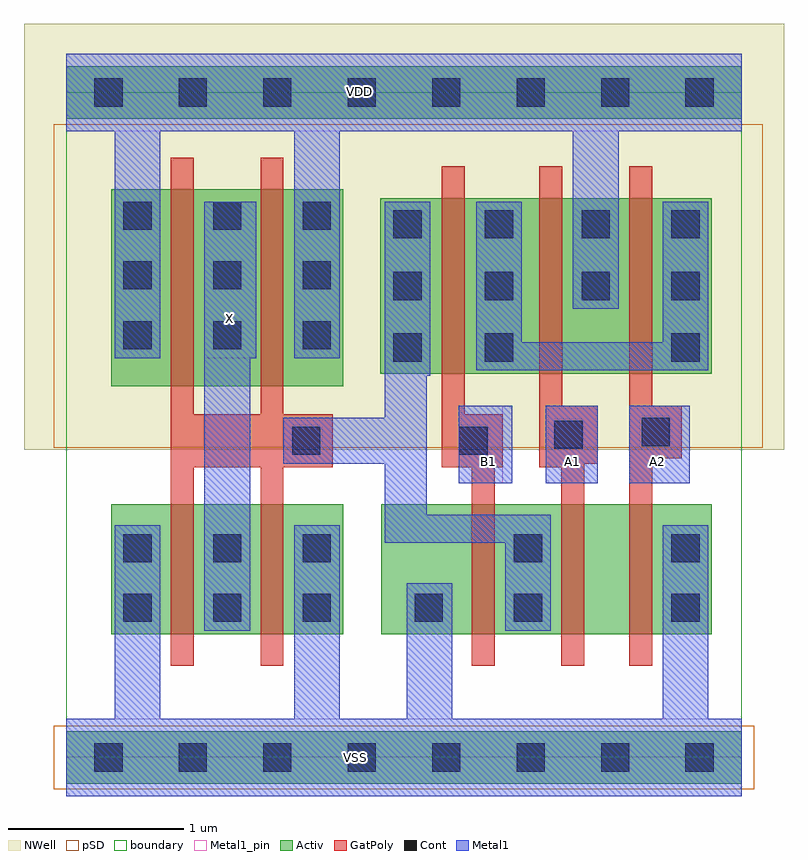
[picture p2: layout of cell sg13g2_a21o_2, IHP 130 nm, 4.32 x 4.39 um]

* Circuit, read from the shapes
.subckt sg13g2_a21o_2 A1 A2 B1 VDD VSS X
XM1 X n1 VSS VSS sg13_lv_nmos w=0.74u l=0.13u m=2
XM2 n1 B1 VSS VSS sg13_lv_nmos w=0.74u l=0.13u
XM3 n2 A1 n1 VSS sg13_lv_nmos w=0.74u l=0.13u
XM4 VSS A2 n2 VSS sg13_lv_nmos w=0.74u l=0.13u
XM5 X n1 VDD VDD sg13_lv_pmos w=1.12u l=0.13u m=2
XM6 n3 B1 n1 VDD sg13_lv_pmos w=1u l=0.13u
XM7 VDD A1 n3 VDD sg13_lv_pmos w=1u l=0.13u
XM8 n3 A2 VDD VDD sg13_lv_pmos w=1u l=0.13u
.ends

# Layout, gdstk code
import gdstk
lib = gdstk.Library(unit=1e-6, precision=1e-09)
def R(c, l, rs):  # rectangles x0, y0, x1, y1
    for r in rs: c.add(gdstk.rectangle(r[:2], r[2:], *l))
def P(c, l, *ps):  # polygons
    for p in ps: c.add(gdstk.Polygon(p, *l))
Activ = (1, 0)
GatPoly = (5, 0)
Cont = (6, 0)
Metal1 = (8, 0)
Metal1_pin = (8, 2)
pSD = (14, 0)
NWell = (31, 0)
boundary = (189, 4)

sg13g2_a21o_2 = lib.new_cell('sg13g2_a21o_2')
R(sg13g2_a21o_2, Activ, [(0,-0.15,3.84,0.15), (0,-0.15,3.84,0.15), (0.255,0.7,1.575,1.44), (0.255,0.7,1.575,1.44), (1.79,0.7,3.67,1.44), (1.79,0.7,3.67,1.44), (0.255,2.11,1.575,3.23), (0.255,2.11,1.575,3.23), (1.785,2.18,3.67,3.18), (1.785,2.18,3.67,3.18), (0,3.63,3.84,3.93), (0,3.63,3.84,3.93)])
P(sg13g2_a21o_2, GatPoly, [(3.2,0.52),(3.2,3.36),(3.33,3.36),(3.33,2),(3.5,2),(3.5,1.7),(3.33,1.7),(3.33,0.52)],
  [(2.815,0.52),(2.815,1.65),(2.69,1.65),(2.69,3.36),(2.82,3.36),(2.82,2),(3.02,2),(3.02,1.67),(2.945,1.67),(2.945,0.52)],
  [(2.305,0.52),(2.305,1.65),(2.135,1.65),(2.135,3.36),(2.265,3.36),(2.265,1.95),(2.48,1.95),(2.48,1.65),(2.435,1.65),(2.435,0.52)],
  [(0.595,0.52),(0.595,3.41),(0.725,3.41),(0.725,1.95),(1.105,1.95),(1.105,3.41),(1.235,3.41),(1.235,1.95),(1.515,1.95),(1.515,1.65),(1.235,1.65),(1.235,0.52),(1.105,0.52),(1.105,1.65),(0.725,1.65),(0.725,0.52)],
  [(3.2,0.52),(3.2,3.36),(3.33,3.36),(3.33,2),(3.5,2),(3.5,1.7),(3.33,1.7),(3.33,0.52)],
  [(2.815,0.52),(2.815,1.65),(2.69,1.65),(2.69,3.36),(2.82,3.36),(2.82,2),(3.02,2),(3.02,1.67),(2.945,1.67),(2.945,0.52)],
  [(2.305,0.52),(2.305,1.65),(2.135,1.65),(2.135,3.36),(2.265,3.36),(2.265,1.95),(2.48,1.95),(2.48,1.65),(2.435,1.65),(2.435,0.52)],
  [(0.595,0.52),(0.595,3.41),(0.725,3.41),(0.725,1.95),(1.105,1.95),(1.105,3.41),(1.235,3.41),(1.235,1.95),(1.515,1.95),(1.515,1.65),(1.235,1.65),(1.235,0.52),(1.105,0.52),(1.105,1.65),(0.725,1.65),(0.725,0.52)])
R(sg13g2_a21o_2, Cont, [(0.16,-0.08,0.32,0.08), (0.16,-0.08,0.32,0.08), (0.64,-0.08,0.8,0.08), (0.64,-0.08,0.8,0.08), (1.12,-0.08,1.28,0.08), (1.12,-0.08,1.28,0.08), (1.6,-0.08,1.76,0.08), (1.6,-0.08,1.76,0.08), (2.08,-0.08,2.24,0.08), (2.08,-0.08,2.24,0.08), (2.56,-0.08,2.72,0.08), (2.56,-0.08,2.72,0.08), (3.04,-0.08,3.2,0.08), (3.04,-0.08,3.2,0.08), (3.52,-0.08,3.68,0.08), (3.52,-0.08,3.68,0.08), (0.325,0.77,0.485,0.93), (0.325,0.77,0.485,0.93), (0.835,0.77,0.995,0.93), (0.835,0.77,0.995,0.93), (1.345,0.77,1.505,0.93), (1.345,0.77,1.505,0.93), (1.98,0.77,2.14,0.93), (1.98,0.77,2.14,0.93), (2.545,0.77,2.705,0.93), (2.545,0.77,2.705,0.93), (3.44,0.77,3.6,0.93), (3.44,0.77,3.6,0.93), (0.325,1.11,0.485,1.27), (0.325,1.11,0.485,1.27), (0.835,1.11,0.995,1.27), (0.835,1.11,0.995,1.27), (1.345,1.11,1.505,1.27), (1.345,1.11,1.505,1.27), (2.545,1.11,2.705,1.27), (2.545,1.11,2.705,1.27), (3.44,1.11,3.6,1.27), (3.44,1.11,3.6,1.27), (1.285,1.72,1.445,1.88), (1.285,1.72,1.445,1.88), (2.235,1.72,2.395,1.88), (2.235,1.72,2.395,1.88), (2.775,1.755,2.935,1.915), (2.775,1.755,2.935,1.915), (3.27,1.77,3.43,1.93), (3.27,1.77,3.43,1.93), (1.86,2.25,2.02,2.41), (1.86,2.25,2.02,2.41), (2.38,2.25,2.54,2.41), (2.38,2.25,2.54,2.41), (3.44,2.25,3.6,2.41), (3.44,2.25,3.6,2.41), (0.325,2.32,0.485,2.48), (0.325,2.32,0.485,2.48), (0.835,2.32,0.995,2.48), (0.835,2.32,0.995,2.48), (1.345,2.32,1.505,2.48), (1.345,2.32,1.505,2.48), (1.86,2.6,2.02,2.76), (1.86,2.6,2.02,2.76), (2.38,2.6,2.54,2.76), (2.38,2.6,2.54,2.76), (2.93,2.6,3.09,2.76), (2.93,2.6,3.09,2.76), (3.44,2.6,3.6,2.76), (3.44,2.6,3.6,2.76), (0.325,2.66,0.485,2.82), (0.325,2.66,0.485,2.82), (0.835,2.66,0.995,2.82), (0.835,2.66,0.995,2.82), (1.345,2.66,1.505,2.82), (1.345,2.66,1.505,2.82), (1.86,2.95,2.02,3.11), (1.86,2.95,2.02,3.11), (2.38,2.95,2.54,3.11), (2.38,2.95,2.54,3.11), (2.93,2.95,3.09,3.11), (2.93,2.95,3.09,3.11), (3.44,2.95,3.6,3.11), (3.44,2.95,3.6,3.11), (0.325,3,0.485,3.16), (0.325,3,0.485,3.16), (0.835,3,0.995,3.16), (0.835,3,0.995,3.16), (1.345,3,1.505,3.16), (1.345,3,1.505,3.16), (0.16,3.7,0.32,3.86), (0.16,3.7,0.32,3.86), (0.64,3.7,0.8,3.86), (0.64,3.7,0.8,3.86), (1.12,3.7,1.28,3.86), (1.12,3.7,1.28,3.86), (1.6,3.7,1.76,3.86), (1.6,3.7,1.76,3.86), (2.08,3.7,2.24,3.86), (2.08,3.7,2.24,3.86), (2.56,3.7,2.72,3.86), (2.56,3.7,2.72,3.86), (3.04,3.7,3.2,3.86), (3.04,3.7,3.2,3.86), (3.52,3.7,3.68,3.86), (3.52,3.7,3.68,3.86)])
R(sg13g2_a21o_2, Metal1, [(2.23,1.56,2.535,2), (2.23,1.56,2.535,2), (2.725,1.56,3.02,2), (2.725,1.56,3.02,2), (3.2,1.56,3.545,2), (3.2,1.56,3.545,2), (2.88,2.55,3.14,3.56), (2.88,2.55,3.14,3.56)])
P(sg13g2_a21o_2, Metal1, [(0,-0.22),(0,0.22),(0.275,0.22),(0.275,1.32),(0.535,1.32),(0.535,0.22),(1.295,0.22),(1.295,1.32),(1.555,1.32),(1.555,0.22),(1.935,0.22),(1.935,0.99),(2.195,0.99),(2.195,0.22),(3.39,0.22),(3.39,1.32),(3.65,1.32),(3.65,0.22),(3.84,0.22),(3.84,-0.22)],
  [(0.275,2.27),(0.275,3.56),(0,3.56),(0,4),(3.84,4),(3.84,3.56),(1.555,3.56),(1.555,2.27),(1.295,2.27),(1.295,3.56),(0.535,3.56),(0.535,2.27)],
  [(2.33,2.2),(2.33,3.16),(2.59,3.16),(2.59,2.36),(3.39,2.36),(3.39,3.16),(3.65,3.16),(3.65,2.2)],
  [(2.495,0.72),(2.495,1.22),(1.81,1.22),(1.81,1.67),(1.235,1.67),(1.235,1.93),(1.81,1.93),(1.81,3.16),(2.07,3.16),(2.07,2.17),(2.05,2.17),(2.05,1.38),(2.755,1.38),(2.755,0.72)],
  [(0.785,0.72),(0.785,3.16),(1.08,3.16),(1.08,2.27),(1.045,2.27),(1.045,0.72)],
  [(0,-0.22),(0,0.22),(0.275,0.22),(0.275,1.32),(0.535,1.32),(0.535,0.22),(1.295,0.22),(1.295,1.32),(1.555,1.32),(1.555,0.22),(1.935,0.22),(1.935,0.99),(2.195,0.99),(2.195,0.22),(3.39,0.22),(3.39,1.32),(3.65,1.32),(3.65,0.22),(3.84,0.22),(3.84,-0.22)],
  [(0.275,2.27),(0.275,3.56),(0,3.56),(0,4),(3.84,4),(3.84,3.56),(1.555,3.56),(1.555,2.27),(1.295,2.27),(1.295,3.56),(0.535,3.56),(0.535,2.27)],
  [(2.33,2.2),(2.33,3.16),(2.59,3.16),(2.59,2.36),(3.39,2.36),(3.39,3.16),(3.65,3.16),(3.65,2.2)],
  [(2.495,0.72),(2.495,1.22),(1.81,1.22),(1.81,1.67),(1.235,1.67),(1.235,1.93),(1.81,1.93),(1.81,3.16),(2.07,3.16),(2.07,2.17),(2.05,2.17),(2.05,1.38),(2.755,1.38),(2.755,0.72)],
  [(0.785,0.72),(0.785,3.16),(1.08,3.16),(1.08,2.27),(1.045,2.27),(1.045,0.72)])
R(sg13g2_a21o_2, Metal1_pin, [(0,-0.22,3.84,0.22), (0,-0.22,3.84,0.22), (2.23,1.56,2.48,2), (2.23,1.56,2.48,2), (2.725,1.56,3.02,2), (2.725,1.56,3.02,2), (3.2,1.56,3.545,2), (3.2,1.56,3.545,2), (0.785,2.27,1.08,3.16), (0.785,2.27,1.08,3.16), (0,3.56,3.84,4), (0,3.56,3.84,4)])
R(sg13g2_a21o_2, pSD, [(-0.07,-0.18,3.91,0.18), (-0.07,-0.18,3.91,0.18), (-0.07,1.76,3.96,3.6), (-0.07,1.76,3.96,3.6)])
R(sg13g2_a21o_2, NWell, [(-0.24,1.75,4.08,4.17), (-0.24,1.75,4.08,4.17)])
R(sg13g2_a21o_2, boundary, [(0,0,3.84,3.78), (0,0,3.84,3.78)])
sg13g2_a21o_2.add(gdstk.Label('B1', (2.4,1.68), layer=8, texttype=25))
sg13g2_a21o_2.add(gdstk.Label('X', (0.93,2.495), layer=8, texttype=25))
sg13g2_a21o_2.add(gdstk.Label('VDD', (1.665,3.785), layer=8, texttype=25))
sg13g2_a21o_2.add(gdstk.Label('VSS', (1.645,0), layer=8, texttype=25))
sg13g2_a21o_2.add(gdstk.Label('A1', (2.88,1.68), layer=8, texttype=25))
sg13g2_a21o_2.add(gdstk.Label('A2', (3.36,1.68), layer=8, texttype=25))
sg13g2_a21o_2.add(gdstk.Label('B1', (2.4,1.68), layer=8, texttype=25))
sg13g2_a21o_2.add(gdstk.Label('X', (0.93,2.495), layer=8, texttype=25))
sg13g2_a21o_2.add(gdstk.Label('VDD', (1.665,3.785), layer=8, texttype=25))
sg13g2_a21o_2.add(gdstk.Label('VSS', (1.645,0), layer=8, texttype=25))
sg13g2_a21o_2.add(gdstk.Label('A1', (2.88,1.68), layer=8, texttype=25))
sg13g2_a21o_2.add(gdstk.Label('A2', (3.36,1.68), layer=8, texttype=25))

lib.write_gds('sg13g2_a21o_2.gds')
